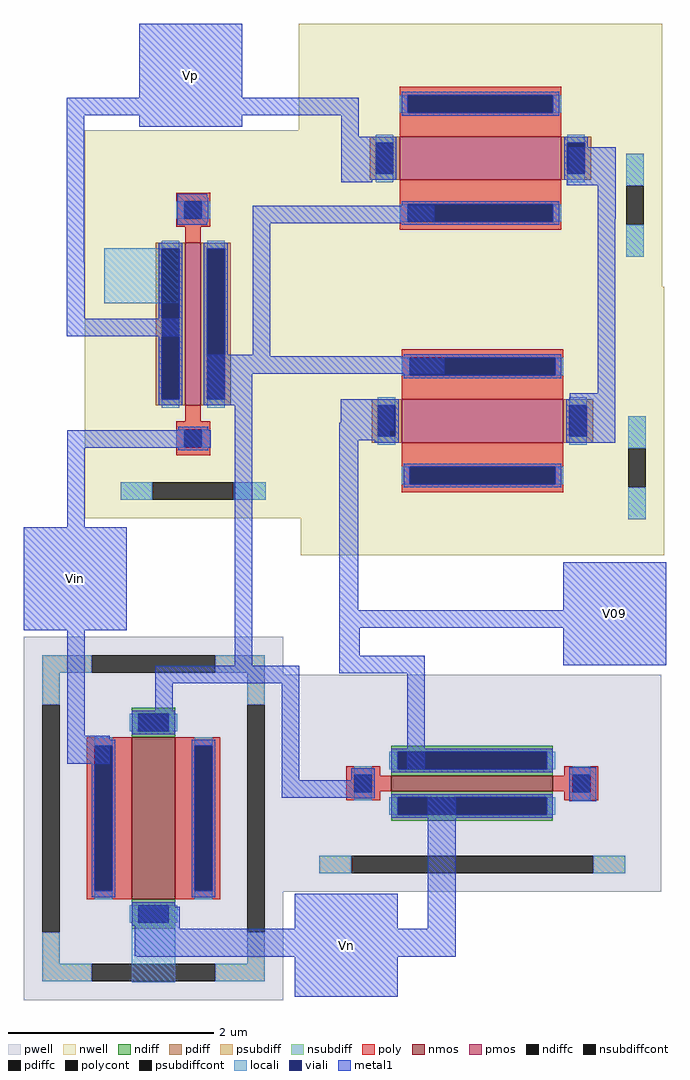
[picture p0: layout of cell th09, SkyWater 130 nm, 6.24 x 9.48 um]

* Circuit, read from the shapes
.subckt th09 Vp V09 Vin Vn
XM1 n1 Vin Vn Vn sky130_fd_pr__nfet_01v8 w=0.42 l=1.57
XM2 V09 n1 Vn Vn sky130_fd_pr__nfet_01v8 w=1.57 l=0.15
XM3 n1 Vin Vp n2 sky130_fd_pr__pfet_01v8 w=1.58 l=0.15
XM4 n3 n1 Vp n2 sky130_fd_pr__pfet_01v8 w=0.42 l=1.57
XM5 n3 n1 V09 n2 sky130_fd_pr__pfet_01v8 w=0.42 l=1.57
.ends

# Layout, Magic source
magic
tech sky130A
magscale 1 2
<< locali >>
rect 826 -144 970 -38
rect 880 -1464 964 -1316
<< metal1 >>
rect 894 255 1094 398
rect 753 221 1321 255
rect 753 -65 787 221
rect 894 198 1094 221
rect 1287 179 1321 221
rect 1287 145 1387 179
rect 1287 129 1351 145
rect 1353 129 1387 145
rect 1287 95 1387 129
rect 1729 119 1820 159
rect 1287 91 1347 95
rect 1725 85 1820 119
rect 968 8 1026 68
rect 1115 11 1467 45
rect 1785 20 1820 85
rect 753 -175 788 -65
rect 753 -209 971 -175
rect 1115 -245 1149 11
rect 1025 -247 1149 -245
rect 1025 -281 1487 -247
rect 1025 -343 1114 -281
rect 1785 -319 1819 20
rect 754 -425 1033 -391
rect 754 -580 788 -425
rect 670 -780 870 -580
rect 754 -985 788 -780
rect 1080 -849 1114 -343
rect 1286 -377 1389 -331
rect 1731 -357 1819 -319
rect 1283 -391 1389 -377
rect 1283 -411 1381 -391
rect 1283 -741 1320 -411
rect 1727 -415 1819 -357
rect 1718 -741 1918 -648
rect 1283 -775 1918 -741
rect 1283 -829 1323 -775
rect 925 -883 1205 -849
rect 1283 -863 1449 -829
rect 1718 -848 1918 -775
rect 925 -943 959 -883
rect 891 -977 959 -943
rect 754 -1039 837 -985
rect 1171 -1071 1205 -883
rect 1415 -1049 1449 -863
rect 1313 -1071 1347 -1051
rect 1171 -1105 1347 -1071
rect 886 -1317 958 -1310
rect 886 -1360 973 -1317
rect 1196 -1360 1396 -1292
rect 1455 -1360 1509 -1103
rect 1730 -1112 1782 -1046
rect 886 -1412 1509 -1360
rect 889 -1414 1509 -1412
rect 1196 -1492 1396 -1414
use sky130_fd_pr__nfet_01v8_JLSX9N  XM0
transform 0 -1 922 1 0 -1145
box -353 -252 353 252
use sky130_fd_pr__pfet_01v8_XYZSMQ  XM1
transform -1 0 999 0 -1 -185
box -211 -377 211 377
use sky130_fd_pr__pfet_01v8_AZD9DW  XM2
transform 1 0 1557 0 1 137
box -353 -261 353 261
use sky130_fd_pr__pfet_01v8_AZD9DW  XM3
transform 1 0 1561 0 1 -373
box -353 -261 353 261
use sky130_fd_pr__nfet_01v8_T8HSQ7  XM4
transform 0 -1 1541 1 0 -1077
box -211 -367 211 367
<< labels >>
flabel metal1 1718 -848 1918 -648 0 FreeSans 256 0 0 0 V09
port 1 nsew
flabel metal1 1196 -1492 1396 -1292 0 FreeSans 256 0 0 0 Vn
port 3 nsew
flabel metal1 670 -780 870 -580 0 FreeSans 256 0 0 0 Vin
port 2 nsew
flabel metal1 894 198 1094 398 0 FreeSans 256 0 0 0 Vp
port 0 nsew
<< end >>

# cell sky130_fd_pr__nfet_01v8_JLSX9N: kit device sky130_fd_pr__nfet_01v8, w 0.42 l 1.57 m 1 nf 1 diffcov 100 polycov 100 guard 1 glc 1 grc 1 gtc 1 gbc 1 tbcov 100 rlcov 100 topc 1 botc 1 poverlap 0 doverlap 1 lmin 0.15 wmin 0.42 compatible {sky130_fd_pr__nfet_01v8 sky130_fd_pr__nfet_01v8_lvt sky130_fd_bs_flash__special_sonosfet_star sky130_fd_pr__nfet_g5v0d10v5 sky130_fd_pr__nfet_05v0_nvt sky130_fd_pr__nfet_03v3_nvt} full_metal 1 viasrc 100 viadrn 100 viagate 100 viagb 0 viagr 0 viagl 0 viagt 0

# cell sky130_fd_pr__pfet_01v8_XYZSMQ: kit device sky130_fd_pr__pfet_01v8, w 1.58 l 0.15 m 1 nf 1 diffcov 100 polycov 100 guard 1 glc 1 grc 1 gtc 1 gbc 1 tbcov 100 rlcov 100 topc 1 botc 1 poverlap 0 doverlap 1 lmin 0.15 wmin 0.42 compatible {sky130_fd_pr__pfet_01v8 sky130_fd_pr__pfet_01v8_lvt sky130_fd_pr__pfet_01v8_hvt sky130_fd_pr__pfet_g5v0d10v5} full_metal 1 viasrc 100 viadrn 100 viagate 100 viagb 0 viagr 0 viagl 0 viagt 0

# cell sky130_fd_pr__pfet_01v8_AZD9DW: kit device sky130_fd_pr__pfet_01v8, w 0.42 l 1.57 m 1 nf 1 diffcov 100 polycov 100 guard 1 glc 1 grc 1 gtc 1 gbc 1 tbcov 100 rlcov 100 topc 1 botc 1 poverlap 0 doverlap 1 lmin 0.15 wmin 0.42 compatible {sky130_fd_pr__pfet_01v8 sky130_fd_pr__pfet_01v8_lvt sky130_fd_pr__pfet_01v8_hvt sky130_fd_pr__pfet_g5v0d10v5} full_metal 1 viasrc 100 viadrn 100 viagate 100 viagb 0 viagr 0 viagl 0 viagt 0

# cell sky130_fd_pr__nfet_01v8_T8HSQ7: kit device sky130_fd_pr__nfet_01v8, w 1.57 l 0.15 m 1 nf 1 diffcov 100 polycov 100 guard 1 glc 1 grc 1 gtc 1 gbc 1 tbcov 100 rlcov 100 topc 1 botc 1 poverlap 0 doverlap 1 lmin 0.15 wmin 0.42 compatible {sky130_fd_pr__nfet_01v8 sky130_fd_pr__nfet_01v8_lvt sky130_fd_bs_flash__special_sonosfet_star sky130_fd_pr__nfet_g5v0d10v5 sky130_fd_pr__nfet_05v0_nvt sky130_fd_pr__nfet_03v3_nvt} full_metal 1 viasrc 100 viadrn 100 viagate 100 viagb 0 viagr 0 viagl 0 viagt 0
